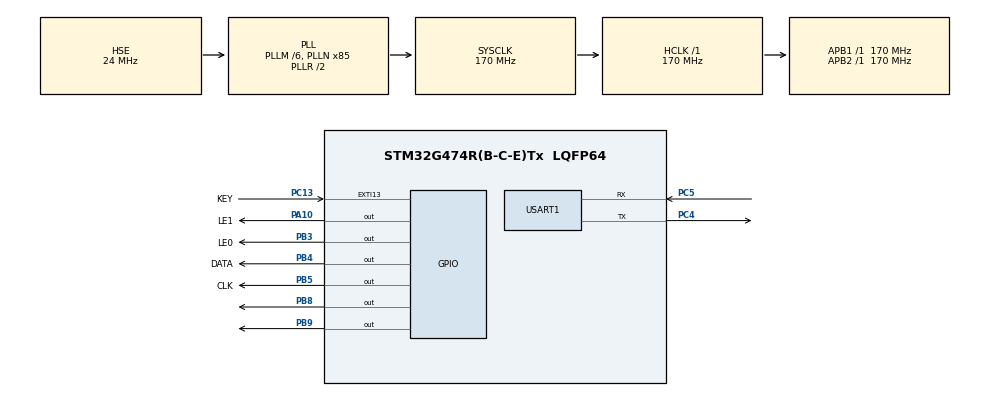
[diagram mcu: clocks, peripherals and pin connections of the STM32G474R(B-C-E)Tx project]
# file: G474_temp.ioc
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Mcu.Family=STM32G4
Mcu.Name=STM32G474R(B-C-E)Tx
Mcu.Package=LQFP64
NVIC.EXTI15_10_IRQn=true\:0\:0\:false\:false\:true\:true\:true\:true
NVIC.PriorityGroup=NVIC_PRIORITYGROUP_4
NVIC.USART1_IRQn=true\:0\:0\:false\:false\:true\:true\:true\:true
PA10.GPIO_Label=LE1
PA10.GPIO_PuPd=GPIO_PULLUP
PA10.Signal=GPIO_Output
PA13.Mode=Serial_Wire
PA13.Signal=SYS_JTMS-SWDIO
PA14.Mode=Serial_Wire
PA14.Signal=SYS_JTCK-SWCLK
PB3.GPIO_Label=LE0
PB3.GPIO_PuPd=GPIO_PULLUP
PB3.Signal=GPIO_Output
PB4.GPIO_Label=DATA
PB4.GPIO_PuPd=GPIO_PULLUP
PB4.Signal=GPIO_Output
PB5.GPIO_Label=CLK
PB5.GPIO_PuPd=GPIO_PULLUP
PB5.Signal=GPIO_Output
PB8-BOOT0.GPIO_FM8=__NULL
PB8-BOOT0.GPIO_ModeDefaultOutputPP=GPIO_MODE_OUTPUT_OD
PB8-BOOT0.GPIO_PuPd=GPIO_PULLUP
PB8-BOOT0.GPIO_Speed=GPIO_SPEED_FREQ_VERY_HIGH
PB8-BOOT0.Signal=GPIO_Output
PB9.GPIO_ModeDefaultOutputPP=GPIO_MODE_OUTPUT_OD
PB9.GPIO_PuPd=GPIO_PULLUP
PB9.GPIO_Speed=GPIO_SPEED_FREQ_VERY_HIGH
PB9.Signal=GPIO_Output
PC13.GPIO_Label=KEY
PC13.Signal=GPXTI13
PC14-OSC32_IN.Mode=LSE-External-Oscillator
PC14-OSC32_IN.Signal=RCC_OSC32_IN
PC15-OSC32_OUT.Mode=LSE-External-Oscillator
PC15-OSC32_OUT.Signal=RCC_OSC32_OUT
PC4.Mode=Asynchronous
PC4.Signal=USART1_TX
PC5.Mode=Asynchronous
PC5.Signal=USART1_RX
PF0-OSC_IN.Mode=HSE-External-Oscillator
PF0-OSC_IN.Signal=RCC_OSC_IN
PF1-OSC_OUT.Mode=HSE-External-Oscillator
PF1-OSC_OUT.Signal=RCC_OSC_OUT
ProjectManager.HeapSize=0x200
ProjectManager.StackSize=0x400
ProjectManager.TargetToolchain=MDK-ARM V5.32
RCC.ADC12Freq_Value=170000000
RCC.ADC345Freq_Value=170000000
RCC.AHBFreq_Value=170000000
RCC.APB1Freq_Value=170000000
RCC.APB1TimFreq_Value=170000000
RCC.APB2Freq_Value=170000000
RCC.APB2TimFreq_Value=170000000
RCC.CortexFreq_Value=170000000
RCC.EXTERNAL_CLOCK_VALUE=12288000
RCC.HCLKFreq_Value=170000000
RCC.HSE_VALUE=24000000
RCC.HSI48_VALUE=48000000
RCC.HSI_VALUE=16000000
RCC.PLLM=RCC_PLLM_DIV6
RCC.PLLN=85
RCC.PLLSourceVirtual=RCC_PLLSOURCE_HSE
RCC.RTCClockSelection=RCC_RTCCLKSOURCE_LSE
RCC.SYSCLKFreq_VALUE=170000000
RCC.SYSCLKSource=RCC_SYSCLKSOURCE_PLLCLK
RCC.USBFreq_Value=170000000
RCC.VCOOutputFreq_Value=340000000
USART1.VirtualMode-Asynchronous=VM_ASYNC
VP_SYS_VS_DBSignals.Mode=DisableDeadBatterySignals
board=NUCLEO-G474RE

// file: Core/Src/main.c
/* USER CODE BEGIN Header */
/**
  ******************************************************************************
  * @file           : main.c
  * @brief          : Main program body
  ******************************************************************************
  * @attention
  *
  * Copyright (c) 2023 STMicroelectronics.
  * All rights reserved.
  *
  * This software is licensed under terms that can be found in the LICENSE file
  * in the root directory of this software component.
  * If no LICENSE file comes with this software, it is provided AS-IS.
  *
  ******************************************************************************
  */
/* USER CODE END Header */
#include "main.h"
#include "usart.h"
#include "gpio.h"

/* USER CODE BEGIN Includes */
#include "delay.h"
#include "myusart1.h"
#include "OLED_I2C.h"
#include "PE4302.H"
/* USER CODE END Includes */

void SystemClock_Config(void);

int main(void)
{

  /* MCU Configuration--------------------------------------------------------*/

  /* Reset of all peripherals, Initializes the Flash interface and the Systick. */
  HAL_Init();

  /* Configure the system clock */
  SystemClock_Config();

  /* Initialize all configured peripherals */
  MX_GPIO_Init();
  MX_USART1_UART_Init();
  /* USER CODE BEGIN 2 */
  delay_init(170);
  MyUSART1_Init(&huart1);
  OLED_Init();
  OLED_CLS();
  OLED_ShowStr(40,3,(unsigned char *)"START",2);
  uint8_t Rx_data[100];

  PE_GPIO_Init();
  PE4302_0_Set(30);
  PE4302_1_Set(20);

  /* USER CODE END 2 */

  /* Infinite loop */
  /* USER CODE BEGIN WHILE */
  while (1)
  {
    if(MyUSART1_ReadLine(Rx_data))
    {
      MyUSART1_WriteLine((uint8_t *)"你发送的是");
      MyUSART1_WriteLine(Rx_data);
      if(Rx_data[0]=='0'&& Rx_data[1]=='1')
        OLED_ShowStr(40,3,(unsigned char *)"RIGHT",2);
      else
        OLED_ShowStr(40,3,(unsigned char *)"FALSE",2);
    }
    delay_ms(5);

    /* USER CODE END WHILE */

  }
}

void SystemClock_Config(void)
{
  RCC_OscInitTypeDef RCC_OscInitStruct = {0};
  RCC_ClkInitTypeDef RCC_ClkInitStruct = {0};

  /** Configure the main internal regulator output voltage
  */
  HAL_PWREx_ControlVoltageScaling(PWR_REGULATOR_VOLTAGE_SCALE1_BOOST);

  /** Initializes the RCC Oscillators according to the specified parameters
  * in the RCC_OscInitTypeDef structure.
  */
  RCC_OscInitStruct.OscillatorType = RCC_OSCILLATORTYPE_HSE;
  RCC_OscInitStruct.HSEState = RCC_HSE_ON;
  RCC_OscInitStruct.PLL.PLLState = RCC_PLL_ON;
  RCC_OscInitStruct.PLL.PLLSource = RCC_PLLSOURCE_HSE;
  RCC_OscInitStruct.PLL.PLLM = RCC_PLLM_DIV6;
  RCC_OscInitStruct.PLL.PLLN = 85;
  RCC_OscInitStruct.PLL.PLLP = RCC_PLLP_DIV2;
  RCC_OscInitStruct.PLL.PLLQ = RCC_PLLQ_DIV2;
  RCC_OscInitStruct.PLL.PLLR = RCC_PLLR_DIV2;
  if (HAL_RCC_OscConfig(&RCC_OscInitStruct) != HAL_OK)
  {
    Error_Handler();
  }

  /** Initializes the CPU, AHB and APB buses clocks
  */
  RCC_ClkInitStruct.ClockType = RCC_CLOCKTYPE_HCLK|RCC_CLOCKTYPE_SYSCLK
                              |RCC_CLOCKTYPE_PCLK1|RCC_CLOCKTYPE_PCLK2;
  RCC_ClkInitStruct.SYSCLKSource = RCC_SYSCLKSOURCE_PLLCLK;
  RCC_ClkInitStruct.AHBCLKDivider = RCC_SYSCLK_DIV1;
  RCC_ClkInitStruct.APB1CLKDivider = RCC_HCLK_DIV1;
  RCC_ClkInitStruct.APB2CLKDivider = RCC_HCLK_DIV1;

  if (HAL_RCC_ClockConfig(&RCC_ClkInitStruct, FLASH_LATENCY_4) != HAL_OK)
  {
    Error_Handler();
  }
}

/* USER CODE BEGIN 4 */
void HAL_GPIO_EXTI_Callback(uint16_t GPIO_PIN)
{
	static uint16_t num = 0;
	if(KEY_Pin)
	{
		OLED_CLS();
		OLED_ShowInt(40,3,num++,2);
	}
}
/* USER CODE END 4 */

void Error_Handler(void)
{
  __disable_irq();
  while (1)
  {
  }
}
